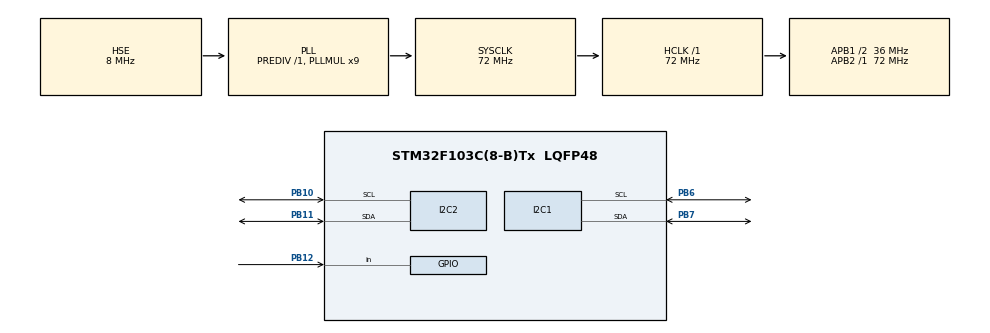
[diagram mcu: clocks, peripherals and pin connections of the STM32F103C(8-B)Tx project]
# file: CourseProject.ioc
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I2C1.I2C_Mode=I2C_Fast
I2C2.I2C_Mode=I2C_Standard
Mcu.Family=STM32F1
Mcu.Name=STM32F103C(8-B)Tx
Mcu.Package=LQFP48
NVIC.PriorityGroup=NVIC_PRIORITYGROUP_4
PA13.Mode=Serial_Wire
PA13.Signal=SYS_JTMS-SWDIO
PA14.Mode=Serial_Wire
PA14.Signal=SYS_JTCK-SWCLK
PB10.Mode=I2C
PB10.Signal=I2C2_SCL
PB11.Mode=I2C
PB11.Signal=I2C2_SDA
PB12.GPIO_PuPd=GPIO_PULLDOWN
PB12.Signal=GPIO_Input
PB6.Mode=I2C
PB6.Signal=I2C1_SCL
PB7.Mode=I2C
PB7.Signal=I2C1_SDA
PC14-OSC32_IN.Mode=LSE-External-Oscillator
PC14-OSC32_IN.Signal=RCC_OSC32_IN
PC15-OSC32_OUT.Mode=LSE-External-Oscillator
PC15-OSC32_OUT.Signal=RCC_OSC32_OUT
PD0-OSC_IN.Mode=HSE-External-Oscillator
PD0-OSC_IN.Signal=RCC_OSC_IN
PD1-OSC_OUT.Mode=HSE-External-Oscillator
PD1-OSC_OUT.Signal=RCC_OSC_OUT
ProjectManager.HeapSize=0x200
ProjectManager.StackSize=0x400
ProjectManager.TargetToolchain=STM32CubeIDE
RCC.AHBFreq_Value=72000000
RCC.APB1CLKDivider=RCC_HCLK_DIV2
RCC.APB1Freq_Value=36000000
RCC.APB1TimFreq_Value=72000000
RCC.APB2Freq_Value=72000000
RCC.APB2TimFreq_Value=72000000
RCC.HCLKFreq_Value=72000000
RCC.PLLMUL=RCC_PLL_MUL9
RCC.PLLSourceVirtual=RCC_PLLSOURCE_HSE
RCC.SYSCLKFreq_VALUE=72000000
RCC.SYSCLKSource=RCC_SYSCLKSOURCE_PLLCLK
RCC.USBFreq_Value=72000000
board=custom

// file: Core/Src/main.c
/* USER CODE BEGIN Header */
/**
  ******************************************************************************
  * @file           : main.c
  * @brief          : Main program body
  ******************************************************************************
  * @attention
  *
  * Copyright (c) 2024 STMicroelectronics.
  * All rights reserved.
  *
  * This software is licensed under terms that can be found in the LICENSE file
  * in the root directory of this software component.
  * If no LICENSE file comes with this software, it is provided AS-IS.
  *
  ******************************************************************************
  */
/* USER CODE END Header */
#include "main.h"
#include "i2c.h"
#include "gpio.h"

void SystemClock_Config(void);

/* USER CODE BEGIN 0 */
#include "mpu6050.h"
#include "ssd1306.h"
#include "ssd1306_fonts.h"
#include "UI/OrthogonalScreen.h"
#include "UI/ValuesScreen.h"

#define BUTTON_DEBOUNCE_DELAY 20

int buttonPressed(void);
/* USER CODE END 0 */

int main(void)
{

  /* USER CODE BEGIN 1 */
  MPU6050_t MPU6050;
  int currentScreen = 0;
  /* USER CODE END 1 */

  /* MCU Configuration--------------------------------------------------------*/

  /* Reset of all peripherals, Initializes the Flash interface and the Systick. */
  HAL_Init();

  /* Configure the system clock */
  SystemClock_Config();

  /* Initialize all configured peripherals */
  MX_GPIO_Init();
  MX_I2C1_Init();
  MX_I2C2_Init();
  /* USER CODE BEGIN 2 */
  while (MPU6050_Init(&hi2c2) == 1);
  ssd1306_Init();
  /* USER CODE END 2 */

  /* Infinite loop */
  while (1)
  {

    /* USER CODE BEGIN 3 */
	MPU6050_Read_All(&hi2c2, &MPU6050);
	HAL_Delay (50);

	if (buttonPressed()) {
		currentScreen++;
		if (currentScreen > 2) {
			currentScreen = 0;
		}
	}

	ssd1306_Fill(Black);
	switch(currentScreen){
		case 0:
			displayOrthogonalScreen(MPU6050, X);
			break;
		case 1:
			displayOrthogonalScreen(MPU6050, Y);
			break;
		case 2:
			displayValuesScreen(MPU6050);
			break;
	}
	ssd1306_UpdateScreen();
  }
  /* USER CODE END 3 */
}

void SystemClock_Config(void)
{
  RCC_OscInitTypeDef RCC_OscInitStruct = {0};
  RCC_ClkInitTypeDef RCC_ClkInitStruct = {0};

  /** Initializes the RCC Oscillators according to the specified parameters
  * in the RCC_OscInitTypeDef structure.
  */
  RCC_OscInitStruct.OscillatorType = RCC_OSCILLATORTYPE_HSE;
  RCC_OscInitStruct.HSEState = RCC_HSE_ON;
  RCC_OscInitStruct.HSEPredivValue = RCC_HSE_PREDIV_DIV1;
  RCC_OscInitStruct.HSIState = RCC_HSI_ON;
  RCC_OscInitStruct.PLL.PLLState = RCC_PLL_ON;
  RCC_OscInitStruct.PLL.PLLSource = RCC_PLLSOURCE_HSE;
  RCC_OscInitStruct.PLL.PLLMUL = RCC_PLL_MUL9;
  if (HAL_RCC_OscConfig(&RCC_OscInitStruct) != HAL_OK)
  {
    Error_Handler();
  }

  /** Initializes the CPU, AHB and APB buses clocks
  */
  RCC_ClkInitStruct.ClockType = RCC_CLOCKTYPE_HCLK|RCC_CLOCKTYPE_SYSCLK
                              |RCC_CLOCKTYPE_PCLK1|RCC_CLOCKTYPE_PCLK2;
  RCC_ClkInitStruct.SYSCLKSource = RCC_SYSCLKSOURCE_PLLCLK;
  RCC_ClkInitStruct.AHBCLKDivider = RCC_SYSCLK_DIV1;
  RCC_ClkInitStruct.APB1CLKDivider = RCC_HCLK_DIV2;
  RCC_ClkInitStruct.APB2CLKDivider = RCC_HCLK_DIV1;

  if (HAL_RCC_ClockConfig(&RCC_ClkInitStruct, FLASH_LATENCY_2) != HAL_OK)
  {
    Error_Handler();
  }
}

/* USER CODE BEGIN 4 */
int buttonPressed(void) {
    static uint8_t lastButtonState = GPIO_PIN_RESET;
    uint8_t currentButtonState = HAL_GPIO_ReadPin(GPIOB, GPIO_PIN_12);

    if (lastButtonState == GPIO_PIN_SET && currentButtonState == GPIO_PIN_RESET) {
        HAL_Delay(BUTTON_DEBOUNCE_DELAY);
        lastButtonState = currentButtonState;
        return 1;
    }

    lastButtonState = currentButtonState;
    return 0;
}
/* USER CODE END 4 */

void Error_Handler(void)
{
  __disable_irq();
  while (1)
  {
  }
}
